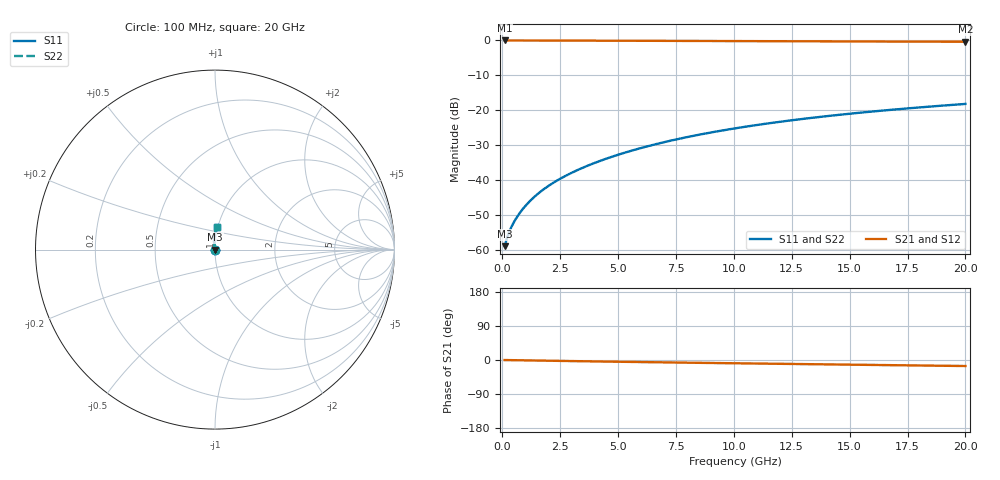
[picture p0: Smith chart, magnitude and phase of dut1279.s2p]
! Touchstone file exported from HFSS 2024.1.0
!  File:  C:/UserFiles/LocalFiles/RDL_TSV_Batchsim/temp_RDL_bottom_1279_1780246583.aedt
!  Generated:  12:58:39 AM Jun  1, 2026
!  Design:  RDL_bottom
!  Project:  temp_RDL_bottom_1279_1780246583
!  Setup:  Setup1
!  Solution:  Sweep
! Variables:
!  dtsv = 10.80580581um
!  hbump = 3um
!  htsv = 59.24um
!  ldown = 247um
!  lrdl = 100um
!  p = 40
!  p1 = 42.45um
!  rhole = 1um
!  t = 450um
!  tdown = 3.98um
!  trdl = 3.915915916um
!  wdown = 28um
!  wrdl = 20um
# GHz S MA R 50.000000
! Terminal data exported
! Port[1] = RDL1_T1
! Port[2] = RDL1_T2
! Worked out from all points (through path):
!   200 points, 100 MHz to 20 GHz, reference 50 ohm
!   highest |S21| = -0.01 dB at 100 MHz (marker M1); lowest = -0.4 dB at 20 GHz (marker M2)
!   group delay of S21, straight-line fit = 2.17 ps
!   lowest |S11| = -58.8 dB at 100 MHz (marker M3), VSWR 1.00, Z = 50.1 + j0.0535 ohm
!   |S11| at or under -10 dB: start of sweep to end of sweep
!   |S22| runs from -58.8 to -18.1 dB; largest |S21 - S12| = 6.2e-15
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0.1  0.001151 27.6  0.999 -0.1  0.999 -0.1  0.001151 27.6
! Gamma 0 0 0 0
! Port Impedance 50 0 50 0
0.2  0.001493 42.3  0.9989 -0.2  0.9989 -0.2  0.001493 42.3
0.3  0.001846 50.4  0.9988 -0.3  0.9988 -0.3  0.001846 50.4
0.4  0.002188 56.1  0.9987 -0.4  0.9987 -0.4  0.002188 56.1
0.5  0.002529 60.7  0.9986 -0.5  0.9986 -0.5  0.002529 60.7
0.8  0.00359 70.3  0.9984 -0.8  0.9984 -0.8  0.00359 70.3
1  0.004334 74.6  0.9982 -1.0  0.9982 -1.0  0.004334 74.6
1.2  0.005103 77.9  0.998 -1.2  0.998 -1.2  0.005103 77.9
1.7  0.007115 83.7  0.9975 -1.6  0.9975 -1.6  0.007115 83.7
2.2  0.009241 87.5  0.9967 -2.1  0.9967 -2.1  0.009241 87.5
2.8  0.01194 90.7  0.9956 -2.7  0.9956 -2.7  0.01194 90.7
3.5  0.01531 93.3  0.9941 -3.3  0.9941 -3.3  0.01531 93.3
4.2  0.0189 95.0  0.9925 -3.9  0.9925 -3.9  0.0189 95.0
5  0.02328 96.3  0.9904 -4.6  0.9904 -4.6  0.02328 96.3
5.9  0.02851 97.0  0.988 -5.4  0.988 -5.4  0.02851 97.0
6.8  0.03403 97.2  0.9856 -6.1  0.9856 -6.1  0.03403 97.2
8.4  0.04436 96.7  0.9814 -7.4  0.9814 -7.4  0.04435 96.7
10.1  0.05581 95.4  0.9772 -8.7  0.9772 -8.7  0.05581 95.4
11.7  0.06683 93.8  0.9736 -9.9  0.9736 -9.9  0.06682 93.8
13.4  0.07863 92.0  0.97 -11.1  0.97 -11.1  0.07862 92.0
16.7  0.1014 88.3  0.9638 -13.5  0.9638 -13.5  0.1014 88.3
20  0.1239 84.8  0.9581 -15.9  0.9581 -15.9  0.1239 84.8
